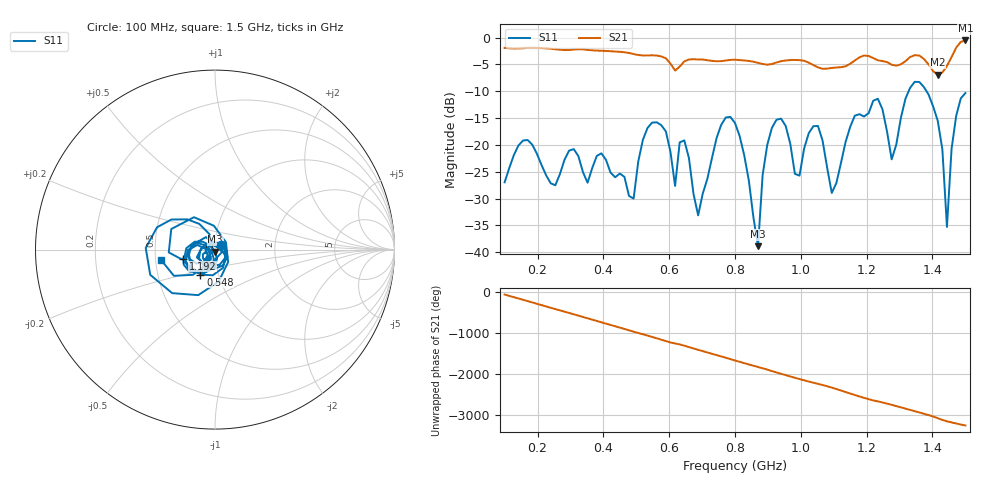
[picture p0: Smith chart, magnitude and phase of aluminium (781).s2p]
! NanoVNA-App
! Date: 2025-09-25 15:01:22
! Start: 100MHz Stop: 1,5GHz Points: 101
! S-Parameter data: F S11 S21 S12 S22
# Hz S RI R 50
!  Frequency  S11_Real  S11_Imag  S21_Real  S21_Imag  S12_Real  S12_Imag  S22_Real  S22_Imag
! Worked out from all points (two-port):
!   101 points, 100 MHz to 1.5 GHz, reference 50 ohm
!   highest |S21| = -0.54 dB at 1.5 GHz (marker M1); lowest = -6.9 dB at 1.416 GHz (marker M2)
!   |S21| within 3 dB of the highest: start of sweep to 577 MHz; 1.459 GHz to end of sweep (the widest 2 of 4)
!   lowest |S11| = -38.9 dB at 870 MHz (marker M3), VSWR 1.02, Z = 50 - j1.14 ohm
!   |S11| at or under -10 dB: start of sweep to 1.328 GHz; 1.382 GHz to end of sweep
!   S12 and S22 are empty: the file has one direction only
!   S11 on the Smith chart (normalised r, x): 100 MHz: 1.07, +0.06; 548 MHz: 0.82, -0.24; 1.192 GHz: 0.70, -0.07; 1.5 GHz: 0.54, -0.07
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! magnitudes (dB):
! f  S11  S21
! 100 MHz  -27.0  -1.9
! 156 MHz  -19.2  -2.0
! 338 MHz  -25.0  -2.2
! 492 MHz  -30.0  -3.1
! 548 MHz  -15.8  -3.3
! 576 MHz  -16.3  -3.5
! 618 MHz  -27.6  -6.1
! 646 MHz  -19.1  -4.4
! 688 MHz  -33.1  -4.1
! 800 MHz  -15.9  -4.1
! 870 MHz  -38.9  -4.7
! 912 MHz  -16.8  -4.9
! 996 MHz  -25.7  -4.2
! 1.038 GHz  -16.5  -5.1
! 1.094 GHz  -28.9  -5.7
! 1.192 GHz  -14.7  -3.3
! 1.276 GHz  -22.7  -5.1
! 1.346 GHz  -8.2  -3.3
! 1.416 GHz  -15.5  -6.9
! 1.444 GHz  -35.3  -5.3
! 1.458 GHz  -20.7  -3.6
! 1.5 GHz  -10.3  -0.5
